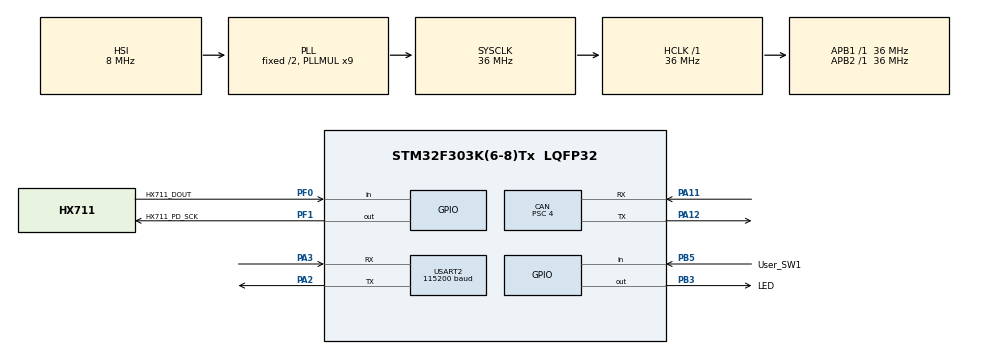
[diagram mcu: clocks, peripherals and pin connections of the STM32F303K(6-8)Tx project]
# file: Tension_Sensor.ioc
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Mcu.Family=STM32F3
NVIC.CAN_RX1_IRQn=true\:0\:0\:false\:false\:true\:true\:true
RCC.CortexFreq_Value=36000000
NVIC.CAN_RX0_IRQn=true\:0\:0\:false\:false\:true\:true\:true
CAN.CalculateBaudRate=500000
RCC.SYSCLKSourceVirtual=RCC_SYSCLKSOURCE_PLLCLK
PF0\ /\ OSC_IN.GPIO_PuPd=GPIO_NOPULL
PA11.Mode=CAN_Activate
USART2.BaudRate=115200
CAN.CalculateTimeBit=1999.99
ProjectManager.StackSize=0x400
PA3.Mode=Asynchronous
PA12.Signal=CAN_TX
CAN.BS2=CAN_BS2_2TQ
CAN.Prescaler=4
CAN.BS1=CAN_BS1_15TQ
PF1\ /\ OSC_OUT.GPIO_Label=HX711_PD_SCK
ProjectManager.TargetToolchain=STM32CubeIDE
RCC.HCLKFreq_Value=36000000
RCC.APB2TimFreq_Value=36000000
PF1\ /\ OSC_OUT.Signal=GPIO_Output
RCC.AHBFreq_Value=36000000
RCC.HSE_VALUE=8000000
board=custom
USART2.VirtualMode-Asynchronous=VM_ASYNC
RCC.PLLMUL=RCC_PLL_MUL9
RCC.APB2Freq_Value=36000000
PB3.GPIO_PuPd=GPIO_PULLUP
PF0\ /\ OSC_IN.Signal=GPIO_Input
VP_TIM2_VS_ClockSourceINT.Mode=Internal
PF0\ /\ OSC_IN.GPIO_Label=HX711_DOUT
NVIC.TIM2_IRQn=true\:0\:0\:false\:false\:true\:true\:true
TIM2.Period=10000-1
Mcu.Name=STM32F303K(6-8)Tx
CAN.CalculateTimeQuantum=111.11111111111111
PA2.Signal=USART2_TX
PB3.Signal=GPIO_Output
RCC.SYSCLKFreq_VALUE=36000000
Mcu.Package=LQFP32
PB5.Signal=GPIO_Input
TIM2.Prescaler=36-1
PA12.Mode=CAN_Activate
PA11.Signal=CAN_RX
ProjectManager.HeapSize=0x200
RCC.HSI_VALUE=8000000
NVIC.PriorityGroup=NVIC_PRIORITYGROUP_4
PB5.GPIO_Label=User_SW1
RCC.APB1TimFreq_Value=36000000
PA2.Mode=Asynchronous
RCC.APB1Freq_Value=36000000
NVIC.CAN_SCE_IRQn=true\:0\:0\:false\:false\:true\:true\:true
PA3.Signal=USART2_RX
PB3.GPIO_Label=LED
NVIC.CAN_TX_IRQn=true\:0\:0\:false\:false\:true\:true\:true

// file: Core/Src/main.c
/* USER CODE BEGIN Header */
/**
  ******************************************************************************
  * @file           : main.c
  * @brief          : Main program body
  ******************************************************************************
  * @attention
  *
  * <h2><center>&copy; Copyright (c) 2021 STMicroelectronics.
  * All rights reserved.</center></h2>
  *
  * This software component is licensed by ST under BSD 3-Clause license,
  * the "License"; You may not use this file except in compliance with the
  * License. You may obtain a copy of the License at:
  *                        opensource.org/licenses/BSD-3-Clause
  *
  ******************************************************************************
  */
/* USER CODE END Header */
#include "main.h"

/* USER CODE BEGIN Includes */
#include "stdio.h"
#include "string.h"
/* USER CODE END Includes */

/* USER CODE BEGIN PD */
#define SENSOR_NUMBER 1

#define OUT_VOL   0.002f      //Output Voltage Rating [V] <------ ?????
#define LOAD      10000.0f    //Weight Rating [g]

#if SENSOR_NUMBER == 1
	#define scale	  0.946788
#elif SENSOR_NUMBER == 2
	#define scale	  0.964114
#elif SENSOR_NUMBER == 3
	#define scale	  0.970859
#endif
/* USER CODE END PD */

CAN_HandleTypeDef hcan;

TIM_HandleTypeDef htim2;

UART_HandleTypeDef huart2;

/* USER CODE BEGIN PV */
#if SENSOR_NUMBER == 1
	const int CUR_TENSION_ID = 0x004;
#elif SENSOR_NUMBER == 2
	const int CUR_TENSION_ID = 0x014;
#elif SENSOR_NUMBER == 3
	const int CUR_TENSION_ID = 0x024;
#endif

float offset;
float weight = 0;
float tension;
char scnt[100];

double tim = 0;

CAN_TxHeaderTypeDef TxHeader;
CAN_RxHeaderTypeDef RxHeader;

uint8_t TxData[8];
uint8_t RxData[8];
uint32_t TxMailbox;
/* USER CODE END PV */

void SystemClock_Config(void);
static void MX_GPIO_Init(void);
static void MX_CAN_Init(void);
static void MX_USART2_UART_Init(void);
static void MX_TIM2_Init(void);
/* USER CODE BEGIN PFP */
void Delay_us(uint32_t Delay);
void AE_HX711_Init(void);
void AE_HX711_Reset(void);
long AE_HX711_Read(void);
long AE_HX711_Averaging(long adc,char num);
float AE_HX711_getGram(char num);

void CAN_Send(uint32_t _id, uint8_t *_data);
/* USER CODE END PFP */

int main(void)
{

  /* MCU Configuration--------------------------------------------------------*/

  /* Reset of all peripherals, Initializes the Flash interface and the Systick. */
  HAL_Init();

  /* Configure the system clock */
  SystemClock_Config();

  /* Initialize all configured peripherals */
  MX_GPIO_Init();
  MX_CAN_Init();
  MX_USART2_UART_Init();
  MX_TIM2_Init();
  /* USER CODE BEGIN 2 */
  HAL_Delay(100);

  HAL_TIM_Base_Start_IT(&htim2);
  HAL_CAN_Start(&hcan);
  if (HAL_CAN_ActivateNotification(&hcan, CAN_IT_RX_FIFO0_MSG_PENDING)
		  != HAL_OK) {
	  Error_Handler();
  }

  AE_HX711_Reset();
  offset = AE_HX711_getGram(30);

  /* USER CODE END 2 */

  /* Infinite loop */
  /* USER CODE BEGIN WHILE */
  while (1)
  {
	  weight  = weight *0.8 + (AE_HX711_getGram(1) - offset) *0.2;
	  uint8_t send_data[8] = {0,0,0,0,0,0,0,0};
	  tension = weight*9.8/1000.0;
	  sprintf(scnt, "Tension:%9f[N],%6.2f[sec]\r\n", tension, tim);
	  HAL_UART_Transmit(&huart2, (uint8_t *)scnt, strlen(scnt), 0xFFFF);
	  memcpy(send_data, &tension, 4);
	  CAN_Send( CUR_TENSION_ID, send_data);
    /* USER CODE END WHILE */

  }
}

void SystemClock_Config(void)
{
  RCC_OscInitTypeDef RCC_OscInitStruct = {0};
  RCC_ClkInitTypeDef RCC_ClkInitStruct = {0};

  /** Initializes the RCC Oscillators according to the specified parameters
  * in the RCC_OscInitTypeDef structure.
  */
  RCC_OscInitStruct.OscillatorType = RCC_OSCILLATORTYPE_HSI;
  RCC_OscInitStruct.HSIState = RCC_HSI_ON;
  RCC_OscInitStruct.HSICalibrationValue = RCC_HSICALIBRATION_DEFAULT;
  RCC_OscInitStruct.PLL.PLLState = RCC_PLL_ON;
  RCC_OscInitStruct.PLL.PLLSource = RCC_PLLSOURCE_HSI;
  RCC_OscInitStruct.PLL.PLLMUL = RCC_PLL_MUL9;
  if (HAL_RCC_OscConfig(&RCC_OscInitStruct) != HAL_OK)
  {
    Error_Handler();
  }
  /** Initializes the CPU, AHB and APB buses clocks
  */
  RCC_ClkInitStruct.ClockType = RCC_CLOCKTYPE_HCLK|RCC_CLOCKTYPE_SYSCLK
                              |RCC_CLOCKTYPE_PCLK1|RCC_CLOCKTYPE_PCLK2;
  RCC_ClkInitStruct.SYSCLKSource = RCC_SYSCLKSOURCE_PLLCLK;
  RCC_ClkInitStruct.AHBCLKDivider = RCC_SYSCLK_DIV1;
  RCC_ClkInitStruct.APB1CLKDivider = RCC_HCLK_DIV1;
  RCC_ClkInitStruct.APB2CLKDivider = RCC_HCLK_DIV1;

  if (HAL_RCC_ClockConfig(&RCC_ClkInitStruct, FLASH_LATENCY_1) != HAL_OK)
  {
    Error_Handler();
  }
}

static void MX_CAN_Init(void)
{

  hcan.Instance = CAN;
  hcan.Init.Prescaler = 4;
  hcan.Init.Mode = CAN_MODE_NORMAL;
  hcan.Init.SyncJumpWidth = CAN_SJW_1TQ;
  hcan.Init.TimeSeg1 = CAN_BS1_15TQ;
  hcan.Init.TimeSeg2 = CAN_BS2_2TQ;
  hcan.Init.TimeTriggeredMode = DISABLE;
  hcan.Init.AutoBusOff = DISABLE;
  hcan.Init.AutoWakeUp = DISABLE;
  hcan.Init.AutoRetransmission = DISABLE;
  hcan.Init.ReceiveFifoLocked = DISABLE;
  hcan.Init.TransmitFifoPriority = DISABLE;
  if (HAL_CAN_Init(&hcan) != HAL_OK)
  {
    Error_Handler();
  }

}

static void MX_TIM2_Init(void)
{

  TIM_ClockConfigTypeDef sClockSourceConfig = {0};
  TIM_MasterConfigTypeDef sMasterConfig = {0};

  htim2.Instance = TIM2;
  htim2.Init.Prescaler = 36-1;
  htim2.Init.CounterMode = TIM_COUNTERMODE_UP;
  htim2.Init.Period = 10000-1;
  htim2.Init.ClockDivision = TIM_CLOCKDIVISION_DIV1;
  htim2.Init.AutoReloadPreload = TIM_AUTORELOAD_PRELOAD_DISABLE;
  if (HAL_TIM_Base_Init(&htim2) != HAL_OK)
  {
    Error_Handler();
  }
  sClockSourceConfig.ClockSource = TIM_CLOCKSOURCE_INTERNAL;
  if (HAL_TIM_ConfigClockSource(&htim2, &sClockSourceConfig) != HAL_OK)
  {
    Error_Handler();
  }
  sMasterConfig.MasterOutputTrigger = TIM_TRGO_RESET;
  sMasterConfig.MasterSlaveMode = TIM_MASTERSLAVEMODE_DISABLE;
  if (HAL_TIMEx_MasterConfigSynchronization(&htim2, &sMasterConfig) != HAL_OK)
  {
    Error_Handler();
  }

}

static void MX_USART2_UART_Init(void)
{

  huart2.Instance = USART2;
  huart2.Init.BaudRate = 115200;
  huart2.Init.WordLength = UART_WORDLENGTH_8B;
  huart2.Init.StopBits = UART_STOPBITS_1;
  huart2.Init.Parity = UART_PARITY_NONE;
  huart2.Init.Mode = UART_MODE_TX_RX;
  huart2.Init.HwFlowCtl = UART_HWCONTROL_NONE;
  huart2.Init.OverSampling = UART_OVERSAMPLING_16;
  huart2.Init.OneBitSampling = UART_ONE_BIT_SAMPLE_DISABLE;
  huart2.AdvancedInit.AdvFeatureInit = UART_ADVFEATURE_NO_INIT;
  if (HAL_UART_Init(&huart2) != HAL_OK)
  {
    Error_Handler();
  }

}

static void MX_GPIO_Init(void)
{
  GPIO_InitTypeDef GPIO_InitStruct = {0};

  /* GPIO Ports Clock Enable */
  __HAL_RCC_GPIOF_CLK_ENABLE();
  __HAL_RCC_GPIOA_CLK_ENABLE();
  __HAL_RCC_GPIOB_CLK_ENABLE();

  /*Configure GPIO pin Output Level */
  HAL_GPIO_WritePin(HX711_PD_SCK_GPIO_Port, HX711_PD_SCK_Pin, GPIO_PIN_RESET);

  /*Configure GPIO pin Output Level */
  HAL_GPIO_WritePin(LED_GPIO_Port, LED_Pin, GPIO_PIN_RESET);

  /*Configure GPIO pin : HX711_DOUT_Pin */
  GPIO_InitStruct.Pin = HX711_DOUT_Pin;
  GPIO_InitStruct.Mode = GPIO_MODE_INPUT;
  GPIO_InitStruct.Pull = GPIO_NOPULL;
  HAL_GPIO_Init(HX711_DOUT_GPIO_Port, &GPIO_InitStruct);

  /*Configure GPIO pin : HX711_PD_SCK_Pin */
  GPIO_InitStruct.Pin = HX711_PD_SCK_Pin;
  GPIO_InitStruct.Mode = GPIO_MODE_OUTPUT_PP;
  GPIO_InitStruct.Pull = GPIO_NOPULL;
  GPIO_InitStruct.Speed = GPIO_SPEED_FREQ_LOW;
  HAL_GPIO_Init(HX711_PD_SCK_GPIO_Port, &GPIO_InitStruct);

  /*Configure GPIO pin : LED_Pin */
  GPIO_InitStruct.Pin = LED_Pin;
  GPIO_InitStruct.Mode = GPIO_MODE_OUTPUT_PP;
  GPIO_InitStruct.Pull = GPIO_PULLUP;
  GPIO_InitStruct.Speed = GPIO_SPEED_FREQ_LOW;
  HAL_GPIO_Init(LED_GPIO_Port, &GPIO_InitStruct);

  /*Configure GPIO pin : User_SW1_Pin */
  GPIO_InitStruct.Pin = User_SW1_Pin;
  GPIO_InitStruct.Mode = GPIO_MODE_INPUT;
  GPIO_InitStruct.Pull = GPIO_NOPULL;
  HAL_GPIO_Init(User_SW1_GPIO_Port, &GPIO_InitStruct);

}

/* USER CODE BEGIN 4 */
void Delay_us(uint32_t Delay)
{
  while(Delay > 0)
  {
	  asm volatile(
			  "NOP\n\t" "NOP\n\t" "NOP\n\t" "NOP\n\t" "NOP\n\t" "NOP\n\t" "NOP\n\t" "NOP\n\t" "NOP\n\t" "NOP\n\t" "NOP\n\t" "NOP\n\t"
			  "NOP\n\t" "NOP\n\t" "NOP\n\t" "NOP\n\t" "NOP\n\t" "NOP\n\t" "NOP\n\t" "NOP\n\t" "NOP\n\t" "NOP\n\t" "NOP\n\t" "NOP\n\t"
			  "NOP\n\t" "NOP\n\t" "NOP\n\t" "NOP\n\t" "NOP\n\t" "NOP\n\t" "NOP\n\t" "NOP\n\t" "NOP\n\t" "NOP\n\t" "NOP\n\t" "NOP\n\t" );	//System clock: 36MHz -> "NOP" x36
	  Delay--;
  }
}

void AE_HX711_Reset(void)
{
	HAL_GPIO_WritePin(HX711_PD_SCK_GPIO_Port, HX711_PD_SCK_Pin, GPIO_PIN_SET);
	Delay_us(100);
	HAL_GPIO_WritePin(HX711_PD_SCK_GPIO_Port, HX711_PD_SCK_Pin, GPIO_PIN_RESET);
	Delay_us(100);
}

long AE_HX711_Read(void)
{
  long data=0;
  while(HAL_GPIO_ReadPin(HX711_DOUT_GPIO_Port, HX711_DOUT_Pin)!=0);
  Delay_us(10);
  for(int i=0;i<24;i++)
  {
	  HAL_GPIO_WritePin(HX711_PD_SCK_GPIO_Port, HX711_PD_SCK_Pin, GPIO_PIN_SET);
	  Delay_us(5);
      HAL_GPIO_WritePin(HX711_PD_SCK_GPIO_Port, HX711_PD_SCK_Pin, GPIO_PIN_RESET);
	  Delay_us(5);
	  data = (data<<1)|(HAL_GPIO_ReadPin(HX711_DOUT_GPIO_Port, HX711_DOUT_Pin));
  }
  HAL_GPIO_WritePin(HX711_PD_SCK_GPIO_Port, HX711_PD_SCK_Pin, GPIO_PIN_SET);
  Delay_us(10);
  HAL_GPIO_WritePin(HX711_PD_SCK_GPIO_Port, HX711_PD_SCK_Pin, GPIO_PIN_RESET);
  Delay_us(10);
  return data^0x800000;
}

long AE_HX711_Averaging(long adc,char num)
{
  long sum = 0;
  for (int i = 0; i < num; i++) sum += AE_HX711_Read();
  return sum / num;
}

float AE_HX711_getGram(char num)
{
  #define HX711_R1  20000.0f
  #define HX711_R2  8200.0f
  #define HX711_VBG 1.25f
  #define HX711_AVDD      4.2987f//(HX711_VBG*((HX711_R1+HX711_R2)/HX711_R2))
  #define HX711_ADC1bit   HX711_AVDD/16777216 //16777216=(2^24)
  #define HX711_PGA 128
  #define HX711_SCALE     (OUT_VOL * HX711_AVDD / LOAD *HX711_PGA)

  float data;

  data = AE_HX711_Averaging(AE_HX711_Read(),num)*HX711_ADC1bit;
  data =  data / HX711_SCALE * scale;

  return data;
}

void HAL_CAN_RxFifo0MsgPendingCallback(CAN_HandleTypeDef *hcan) {
	if (HAL_CAN_GetRxMessage(hcan, CAN_RX_FIFO0, &RxHeader, RxData) != HAL_OK) {
		Error_Handler();
	}
}

void CAN_Send(uint32_t _id, uint8_t *_data) {
	TxHeader.StdId = _id;					// Tx CAN ID
	TxHeader.RTR = CAN_RTR_DATA;
	TxHeader.IDE = CAN_ID_STD;
	TxHeader.DLC = 8;
	TxHeader.TransmitGlobalTime = DISABLE;
	memcpy(TxData, _data, 8);
	if (HAL_CAN_AddTxMessage(&hcan, &TxHeader, TxData, &TxMailbox) != HAL_OK) {
		Error_Handler();
	}
	while (HAL_CAN_GetTxMailboxesFreeLevel(&hcan) == 0) {
	}
}

void HAL_TIM_PeriodElapsedCallback(TIM_HandleTypeDef *htim) {
	if (htim == &htim2) {
		tim += 0.01;
	}
}
/* USER CODE END 4 */

void Error_Handler(void)
{
  __disable_irq();
  while (1)
  {
  }
}

/************************ (C) COPYRIGHT STMicroelectronics *****END OF FILE****/
